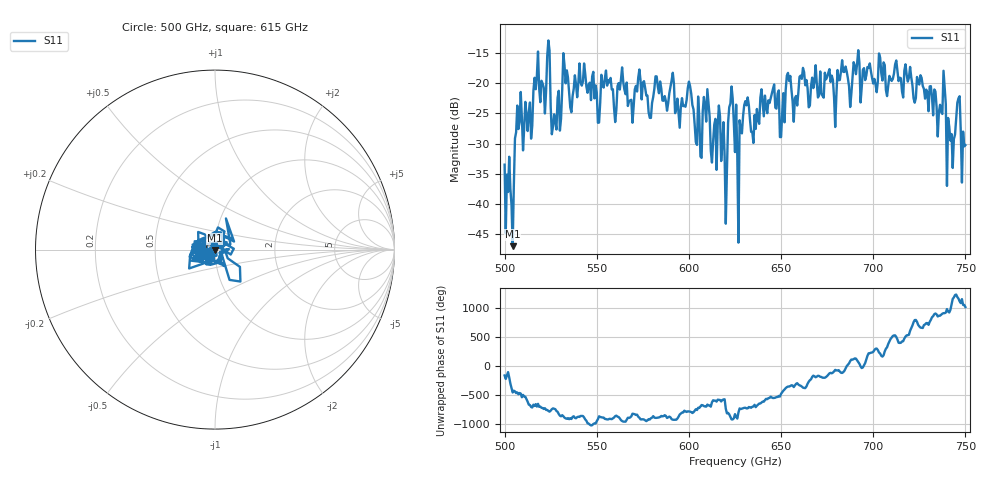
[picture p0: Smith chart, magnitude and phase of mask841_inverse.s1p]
!Created with skrf (http://scikit-rf.org).
# GHz S MA R 50.0
!freq magS11 angS11
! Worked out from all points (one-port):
!   401 points, 500 GHz to 750 GHz, reference 50 ohm
!   lowest |S11| = -47.1 dB at 504.4 GHz (marker M1), VSWR 1.01, Z = 50 - j0.442 ohm
!   |S11| at or under -10 dB: start of sweep to end of sweep
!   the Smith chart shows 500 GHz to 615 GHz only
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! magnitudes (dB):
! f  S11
! 500 GHz  -33.5
! 504.4 GHz  -47.1
! 507.5 GHz  -27.6
! 513.8 GHz  -23.2
! 516.9 GHz  -21.0
! 523.8 GHz  -12.9
! 526.9 GHz  -25.1
! 531.2 GHz  -21.1
! 562.5 GHz  -21.0
! 579.4 GHz  -25.7
! 590.6 GHz  -19.5
! 593.8 GHz  -22.5
! 600.6 GHz  -20.4
! 605.6 GHz  -25.6
! 609.4 GHz  -26.4
! 619.4 GHz  -32.1
! 622.5 GHz  -23.4
! 625 GHz  -31.4
! 627.5 GHz  -26.1
! 631.2 GHz  -23.7
! 635 GHz  -29.9
! 656.2 GHz  -23.0
! 687.5 GHz  -23.9
! 718.8 GHz  -19.7
! 738.1 GHz  -17.9
! 741.2 GHz  -27.2
! 746.2 GHz  -22.5
! 750 GHz  -30.3
